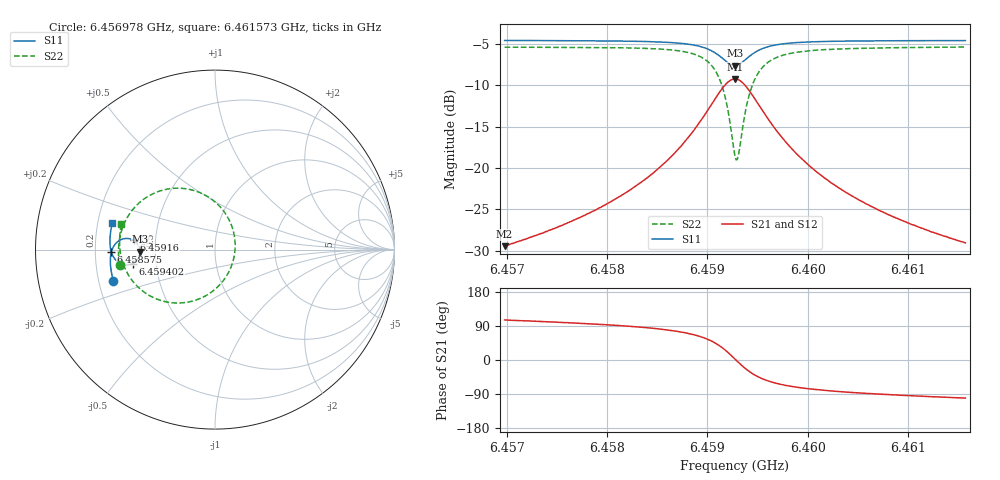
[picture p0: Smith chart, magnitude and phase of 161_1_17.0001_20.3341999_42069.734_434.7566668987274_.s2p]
#  HZ  S  RI  R  50.00
! Rohde & Schwarz Vector Network Analyzer
! Rohde-Schwarz,ZNB20-2Port,1311601062101988,3.16
! Created: UTC 3/20/2024, 10:59:14 PM
! freq[Hz]  re:S11  im:S11  re:S21  im:S21  re:S12  im:S12  re:S22  im:S22
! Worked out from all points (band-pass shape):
!   401 points, 6.456978 GHz to 6.461573 GHz, reference 50 ohm
!   highest |S21| = -9.22 dB at 6.459275 GHz (marker M1); lowest = -29.5 dB at 6.456978 GHz (marker M2)
!   |S21| within 3 dB of the highest: 6.459045 GHz to 6.459505 GHz (459.5 kHz wide, 0.00711 % of centre)
!   lowest |S11| = -7.6 dB at 6.459275 GHz (marker M3), VSWR 2.43, Z = 20.6 - j0.586 ohm
!   |S11| at or under -10 dB: nowhere
!   |S22| runs from -19.0 to -5.3 dB; largest |S21 - S12| = 0.013
!   S11 on the Smith chart (normalised r, x): 6.456978 GHz: 0.26, -0.14; 6.458575 GHz: 0.27, -0.01; 6.45916 GHz: 0.37, +0.05; 6.459402 GHz: 0.37, -0.07; 6.461573 GHz: 0.26, +0.12
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6.4569777e9  -0.5662 -0.1734  -0.00911 0.0323  -0.00733 0.0325  -0.5317 -0.0862
6.4577474e9  -0.5804 -0.1062  -0.00575 0.0504  -0.00324 0.0499  -0.5373 0.00382
6.4581954e9  -0.5834 -0.061  0.000634 0.0714  0.00396 0.07  -0.5286 0.0756
6.4585171e9  -0.5796 -0.0222  0.0139 0.099  0.018 0.0962  -0.5043 0.1492
6.4585745e9  -0.5777 -0.0144  0.0183 0.1059  0.0224 0.1027  -0.4961 0.1656
6.4587813e9  -0.5649 0.0178  0.0457 0.1385  0.0498 0.1335  -0.4448 0.2385
6.4589306e9  -0.5421 0.0443  0.0911 0.1691  0.0943 0.1623  -0.3613 0.3033
6.4590685e9  -0.4982 0.062  0.1786 0.1859  0.1794 0.1785  -0.2021 0.3423
6.4591604e9  -0.4534 0.0517  0.2688 0.1547  0.269 0.1489  -0.0352 0.2919
6.4592293e9  -0.4241 0.0194  0.3293 0.0825  0.3315 0.0774  0.0803 0.1623
6.4592753e9  -0.4172 -0.0118  0.3457 0.0145  0.3495 0.0076  0.1123 0.0353
6.4592868e9  -0.4177 -0.0198  0.3456 -0.00331  0.3495 -0.0108  0.112 0.00175
6.4593097e9  -0.4212 -0.0355  0.34 -0.038  0.3438 -0.0471  0.1008 -0.0641
6.4593557e9  -0.4368 -0.0616  0.3113 -0.098  0.3135 -0.1098  0.0431 -0.1772
6.4594016e9  -0.459 -0.078  0.2692 -0.139  0.2684 -0.1522  -0.0419 -0.2518
6.4594935e9  -0.5024 -0.0849  0.1844 -0.1703  0.1784 -0.1817  -0.2104 -0.2976
6.4596429e9  -0.5464 -0.0645  0.0966 -0.1565  0.0881 -0.1626  -0.3777 -0.2485
6.4598037e9  -0.568 -0.0368  0.0517 -0.1286  0.0442 -0.1314  -0.4581 -0.1767
6.460045e9  -0.5808 -0.0013  0.0225 -0.0972  0.0168 -0.0977  -0.5061 -0.0945
6.4603781e9  -0.5855 0.0384  0.00682 -0.071  0.00271 -0.0706  -0.5274 -0.0177
6.4608146e9  -0.5839 0.0824  -0.00138 -0.0519  -0.00414 -0.051  -0.5322 0.0526
6.4615728e9  -0.5718 0.1496  -0.00637 -0.0346  -0.00816 -0.0337  -0.5212 0.1421
